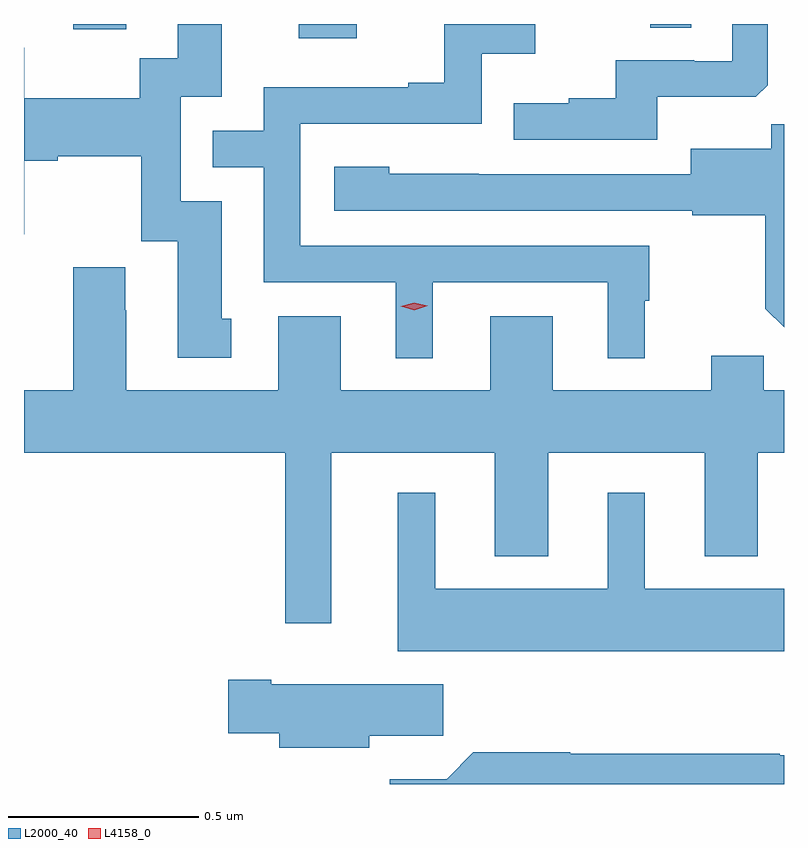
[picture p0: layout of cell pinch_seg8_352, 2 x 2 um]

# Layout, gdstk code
import gdstk
lib = gdstk.Library(unit=1e-6, precision=1e-09)
def R(c, l, rs):  # rectangles x0, y0, x1, y1
    for r in rs: c.add(gdstk.rectangle(r[:2], r[2:], *l))
def P(c, l, *ps):  # polygons
    for p in ps: c.add(gdstk.Polygon(p, *l))
L2000_40 = (2000, 40)
L4158_0 = (4158, 0)

pinch_seg8_352 = lib.new_cell('pinch_seg8_352')
R(pinch_seg8_352, L2000_40, [(424.265,1141.566,424.417,1141.604), (423.671,1141.59,423.811,1141.604), (425.19,1141.594,425.298,1141.604)])
P(pinch_seg8_352, L2000_40, [(424.618,1140.924),(425.078,1140.924),(425.078,1140.725),(425.176,1140.725),(425.176,1140.876),(425.188,1140.876),(425.188,1141.02),(424.269,1141.02),(424.269,1141.341),(424.746,1141.341),(424.746,1141.526),(424.888,1141.526),(424.888,1141.604),(424.648,1141.604),(424.648,1141.45),(424.553,1141.45),(424.553,1141.437),(424.173,1141.437),(424.173,1141.323),(424.039,1141.323),(424.039,1141.227),(424.173,1141.227),(424.173,1140.924),(424.52,1140.924),(424.52,1140.725),(424.618,1140.725)],
  [(424.087,1140.828),(424.063,1140.828),(424.063,1141.137),(423.954,1141.137),(423.954,1141.413),(424.063,1141.413),(424.063,1141.604),(423.947,1141.604),(423.947,1141.514),(423.846,1141.514),(423.846,1141.408),(423.543,1141.408),(423.543,1141.542),(423.542,1141.542),(423.542,1141.051),(423.543,1141.051),(423.543,1141.244),(423.631,1141.244),(423.631,1141.256),(423.851,1141.256),(423.851,1141.032),(423.947,1141.032),(423.947,1140.726),(424.087,1140.726)],
  [(425.209,1141.412),(425.467,1141.412),(425.499,1141.443),(425.499,1141.604),(425.406,1141.604),(425.406,1141.506),(425.306,1141.506),(425.306,1141.509),(425.099,1141.509),(425.099,1141.408),(424.975,1141.408),(424.975,1141.396),(424.831,1141.396),(424.831,1141.299),(425.209,1141.299)],
  [(425.542,1141.34),(425.508,1141.34),(425.508,1141.276),(425.297,1141.276),(425.297,1141.209),(424.739,1141.209),(424.739,1141.21),(424.503,1141.21),(424.503,1141.228),(424.359,1141.228),(424.359,1141.113),(425.301,1141.113),(425.301,1141.101),(425.493,1141.101),(425.493,1140.855),(425.542,1140.806)],
  [(424.769,1140.64),(424.375,1140.64),(424.375,1140.835),(424.211,1140.835),(424.211,1140.64),(423.811,1140.64),(423.811,1140.851),(423.808,1140.851),(423.808,1140.964),(423.671,1140.964),(423.671,1140.64),(423.542,1140.64),(423.542,1140.476),(424.23,1140.476),(424.23,1140.027),(424.351,1140.027),(424.351,1140.476),(424.781,1140.476),(424.781,1140.203),(424.921,1140.203),(424.921,1140.476),(425.333,1140.476),(425.333,1140.203),(425.473,1140.203),(425.473,1140.476),(425.542,1140.476),(425.542,1140.64),(425.489,1140.64),(425.489,1140.731),(425.351,1140.731),(425.351,1140.64),(424.933,1140.64),(424.933,1140.835),(424.769,1140.835)],
  [(425.542,1140.118),(425.176,1140.118),(425.176,1140.37),(425.078,1140.37),(425.078,1140.118),(424.624,1140.118),(424.624,1140.37),(424.526,1140.37),(424.526,1139.954),(425.542,1139.954)],
  [(424.45,1139.731),(424.645,1139.731),(424.645,1139.866),(424.192,1139.866),(424.192,1139.879),(424.08,1139.879),(424.08,1139.737),(424.214,1139.737),(424.214,1139.699),(424.45,1139.699)],
  [(425.542,1139.68),(425.531,1139.68),(425.531,1139.684),(424.979,1139.684),(424.979,1139.687),(424.724,1139.687),(424.654,1139.617),(424.505,1139.617),(424.505,1139.604),(425.542,1139.604)])
P(pinch_seg8_352, L4158_0, [(424.569,1140.851),(424.533,1140.861),(424.533,1140.861),(424.533,1140.861),(424.569,1140.871),(424.605,1140.862),(424.605,1140.862),(424.605,1140.862)])

lib.write_gds('pinch_seg8_352.gds')
